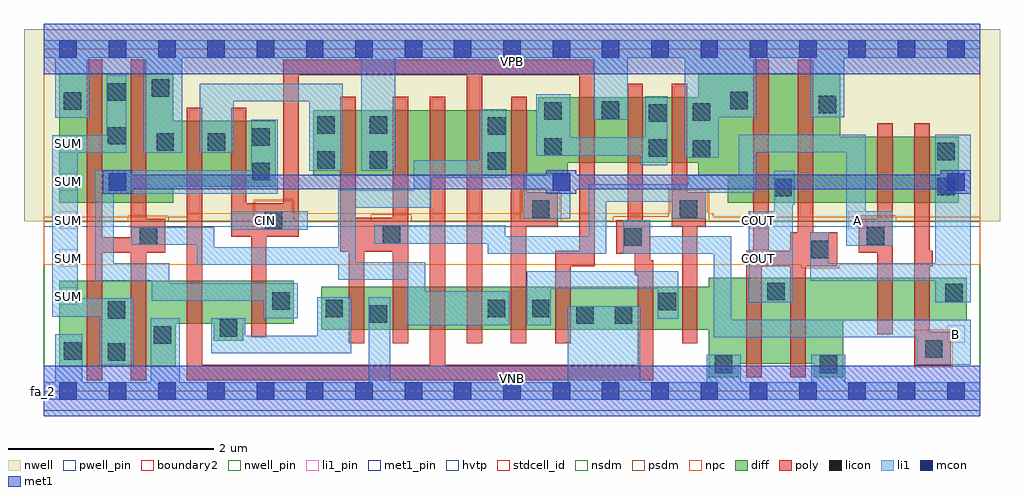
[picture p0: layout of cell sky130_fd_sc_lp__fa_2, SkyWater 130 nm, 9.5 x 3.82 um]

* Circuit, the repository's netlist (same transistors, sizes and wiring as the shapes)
* Copyright 2020 The SkyWater PDK Authors
*
* Licensed under the Apache License, Version 2.0 (the "License");
* you may not use this file except in compliance with the License.
* You may obtain a copy of the License at
*
*     https://www.apache.org/licenses/LICENSE-2.0
*
* Unless required by applicable law or agreed to in writing, software
* distributed under the License is distributed on an "AS IS" BASIS,
* WITHOUT WARRANTIES OR CONDITIONS OF ANY KIND, either express or implied.
* See the License for the specific language governing permissions and
* limitations under the License.
*
* SPDX-License-Identifier: Apache-2.0

.SUBCKT sky130_fd_sc_lp__fa_2 A B CIN VGND VNB VPB VPWR COUT SUM
*.PININFO A:I B:I CIN:I VGND:I VNB:I VPB:I VPWR:I COUT:O SUM:O
MMIN2 COUT majb VGND VNB sky130_fd_pr__nfet_01v8 m=2 w=0.84U l=0.15U mult=1 sa=0.265
+ sb=0.265 sd=0.28 area=0.063 perim=1.14
MMIN3 SUM sumb VGND VNB sky130_fd_pr__nfet_01v8 m=2 w=0.84U l=0.15U mult=1 sa=0.265
+ sb=0.265 sd=0.28 area=0.063 perim=1.14
MMNmaj10 majb B sndNAp1 VNB sky130_fd_pr__nfet_01v8 m=1 w=0.42U l=0.15U mult=1
+ sa=0.265 sb=0.265 sd=0.28 area=0.063 perim=1.14
MMNmaj11 sndNAp1 A VGND VNB sky130_fd_pr__nfet_01v8 m=1 w=0.42U l=0.15U mult=1
+ sa=0.265 sb=0.265 sd=0.28 area=0.063 perim=1.14
MMNmaj30 majb CIN nmajmid VNB sky130_fd_pr__nfet_01v8 m=1 w=0.42U l=0.15U mult=1
+ sa=0.265 sb=0.265 sd=0.28 area=0.063 perim=1.14
MMNmaj21 nmajmid A VGND VNB sky130_fd_pr__nfet_01v8 m=1 w=0.42U l=0.15U mult=1
+ sa=0.265 sb=0.265 sd=0.28 area=0.063 perim=1.14
MMNmaj20 VGND B nmajmid VNB sky130_fd_pr__nfet_01v8 m=1 w=0.42U l=0.15U mult=1
+ sa=0.265 sb=0.265 sd=0.28 area=0.063 perim=1.14
MMNs2s0 VGND A sndNAn4 VNB sky130_fd_pr__nfet_01v8 m=1 w=0.42U l=0.15U mult=1 sa=0.265
+ sb=0.265 sd=0.28 area=0.063 perim=1.14
MMNs2s1 sndNAn4 B sndNBn4 VNB sky130_fd_pr__nfet_01v8 m=1 w=0.42U l=0.15U mult=1
+ sa=0.265 sb=0.265 sd=0.28 area=0.063 perim=1.14
MMNs2s2 sndNBn4 CIN sumb VNB sky130_fd_pr__nfet_01v8 m=1 w=0.42U l=0.15U mult=1
+ sa=0.265 sb=0.265 sd=0.28 area=0.063 perim=1.14
MMNs3s0 nint1 A VGND VNB sky130_fd_pr__nfet_01v8 m=1 w=0.42U l=0.15U mult=1 sa=0.265
+ sb=0.265 sd=0.28 area=0.063 perim=1.14
MMNs3s1 nint1 B VGND VNB sky130_fd_pr__nfet_01v8 m=1 w=0.42U l=0.15U mult=1 sa=0.265
+ sb=0.265 sd=0.28 area=0.063 perim=1.14
MMNs3s2 nint1 CIN VGND VNB sky130_fd_pr__nfet_01v8 m=1 w=0.42U l=0.15U mult=1 sa=0.265
+ sb=0.265 sd=0.28 area=0.063 perim=1.14
MMNs1s nint1 majb sumb VNB sky130_fd_pr__nfet_01v8 m=1 w=0.42U l=0.15U mult=1 sa=0.265
+ sb=0.265 sd=0.28 area=0.063 perim=1.14
MMIP2 COUT majb VPWR VPB sky130_fd_pr__pfet_01v8_hvt m=2 w=1.26U l=0.15U mult=1
+ sa=0.265 sb=0.265 sd=0.28 area=0.063 perim=1.14
MMIP3 SUM sumb VPWR VPB sky130_fd_pr__pfet_01v8_hvt m=2 w=1.26U l=0.15U mult=1
+ sa=0.265 sb=0.265 sd=0.28 area=0.063 perim=1.14
MMPmaj10 VPWR A sndPAp1 VPB sky130_fd_pr__pfet_01v8_hvt m=1 w=0.64U l=0.15U mult=1
+ sa=0.265 sb=0.265 sd=0.28 area=0.063 perim=1.14
MMPmaj11 sndPAp1 B majb VPB sky130_fd_pr__pfet_01v8_hvt m=1 w=0.64U l=0.15U mult=1
+ sa=0.265 sb=0.265 sd=0.28 area=0.063 perim=1.14
MMPmaj20 VPWR B pmajmid VPB sky130_fd_pr__pfet_01v8_hvt m=1 w=0.64U l=0.15U mult=1
+ sa=0.265 sb=0.265 sd=0.28 area=0.063 perim=1.14
MMPmaj30 pmajmid CIN majb VPB sky130_fd_pr__pfet_01v8_hvt m=1 w=0.64U l=0.15U mult=1
+ sa=0.265 sb=0.265 sd=0.28 area=0.063 perim=1.14
MMPmaj21 pmajmid A VPWR VPB sky130_fd_pr__pfet_01v8_hvt m=1 w=0.64U l=0.15U mult=1
+ sa=0.265 sb=0.265 sd=0.28 area=0.063 perim=1.14
MMPs2s0 VPWR A sndPAp4 VPB sky130_fd_pr__pfet_01v8_hvt m=1 w=0.64U l=0.15U mult=1
+ sa=0.265 sb=0.265 sd=0.28 area=0.063 perim=1.14
MMPs2s1 sndPAp4 B sndPBp4 VPB sky130_fd_pr__pfet_01v8_hvt m=1 w=0.64U l=0.15U mult=1
+ sa=0.265 sb=0.265 sd=0.28 area=0.063 perim=1.14
MMPs2s2 sndPBp4 CIN sumb VPB sky130_fd_pr__pfet_01v8_hvt m=1 w=0.64U l=0.15U mult=1
+ sa=0.265 sb=0.265 sd=0.28 area=0.063 perim=1.14
MMPs3s0 pint1 A VPWR VPB sky130_fd_pr__pfet_01v8_hvt m=1 w=0.64U l=0.15U mult=1
+ sa=0.265 sb=0.265 sd=0.28 area=0.063 perim=1.14
MMPs3s1 pint1 B VPWR VPB sky130_fd_pr__pfet_01v8_hvt m=1 w=0.64U l=0.15U mult=1
+ sa=0.265 sb=0.265 sd=0.28 area=0.063 perim=1.14
MMPs3s2 pint1 CIN VPWR VPB sky130_fd_pr__pfet_01v8_hvt m=1 w=0.64U l=0.15U mult=1
+ sa=0.265 sb=0.265 sd=0.28 area=0.063 perim=1.14
MMPs1s pint1 majb sumb VPB sky130_fd_pr__pfet_01v8_hvt m=1 w=0.64U l=0.15U mult=1
+ sa=0.265 sb=0.265 sd=0.28 area=0.063 perim=1.14
.ENDS sky130_fd_sc_lp__fa_2

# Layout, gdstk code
import gdstk
lib = gdstk.Library(unit=1e-6, precision=1e-09)
def R(c, l, rs):  # rectangles x0, y0, x1, y1
    for r in rs: c.add(gdstk.rectangle(r[:2], r[2:], *l))
def A(c, l, x, y, w, h, nx, ny, dx, dy):  # array of equal rectangles
    R(c, l, [(x+i*dx, y+j*dy, x+i*dx+w, y+j*dy+h) for i in range(nx) for j in range(ny)])
def P(c, l, *ps):  # polygons
    for p in ps: c.add(gdstk.Polygon(p, *l))
nwell_pin = (64, 16)
nwell = (64, 20)
diff = (65, 20)
poly = (66, 20)
licon = (66, 44)
li1_pin = (67, 16)
li1 = (67, 20)
mcon = (67, 44)
met1_pin = (68, 16)
met1 = (68, 20)
hvtp = (78, 44)
stdcell_id = (81, 4)
nsdm = (93, 44)
psdm = (94, 20)
npc = (95, 20)
pwell_pin = (122, 16)
boundary2 = (236, 0)

sky130_fd_sc_lp__fa_2 = lib.new_cell('sky130_fd_sc_lp__fa_2')
R(sky130_fd_sc_lp__fa_2, nwell_pin, [(0,3.085,9.12,3.33)])
R(sky130_fd_sc_lp__fa_2, nwell, [(-0.19,1.655,9.31,3.52)])
P(sky130_fd_sc_lp__fa_2, diff, [(2.26,2.63),(1.265,2.63),(1.265,3.095),(0.155,3.095),(0.155,1.835),(1.265,1.835),(1.265,1.99),(2.26,1.99)],
  [(2.435,1.075),(0.155,1.075),(0.155,0.235),(1.285,0.235),(1.285,0.655),(1.655,0.655),(1.655,0.49),(1.945,0.49),(1.945,0.655),(2.435,0.655)],
  [(8.91,2.475),(7.755,2.475),(7.755,3.095),(6.375,3.095),(6.375,2.86),(4.815,2.86),(4.815,2.735),(2.625,2.735),(2.625,2.095),(5.105,2.095),(5.105,2.22),(6.375,2.22),(6.375,2.095),(6.66,2.095),(6.66,1.835),(8.91,1.835)],
  [(8.985,1.105),(6.475,1.105),(6.475,1.015),(2.705,1.015),(2.705,0.595),(6.475,0.595),(6.475,0.135),(6.765,0.135),(6.765,0.265),(7.495,0.265),(7.495,0.135),(7.785,0.135),(7.785,0.685),(8.985,0.685)])
P(sky130_fd_sc_lp__fa_2, poly, [(1.185,1.675),(1,1.675),(1,3.225),(0.85,3.225),(0.85,1.495),(0.57,1.495),(0.57,3.225),(0.42,3.225),(0.42,0.105),(0.57,0.105),(0.57,1.345),(0.85,1.345),(0.85,0.105),(1,0.105),(1,1.345),(1.185,1.345)],
  [(3.55,2.865),(3.4,2.865),(3.4,1.685),(3.04,1.685),(3.04,2.865),(2.89,2.865),(2.89,1.355),(2.97,1.355),(2.97,0.465),(3.12,0.465),(3.12,1.355),(3.4,1.355),(3.4,0.465),(3.55,0.465)],
  [(5.005,1.935),(4.705,1.935),(4.705,2.865),(4.555,2.865),(4.555,1.935),(4.55,1.935),(4.55,0.465),(4.7,0.465),(4.7,1.605),(5.005,1.605)],
  [(5.365,3.225),(2.335,3.225),(2.335,1.83),(1.975,1.83),(1.975,2.76),(1.825,2.76),(1.825,1.5),(2.02,1.5),(2.02,0.525),(2.17,0.525),(2.17,1.5),(2.485,1.5),(2.485,3.075),(4.12,3.075),(4.12,0.465),(4.27,0.465),(4.27,3.075),(5.215,3.075),(5.215,1.365),(4.98,1.365),(4.98,0.465),(5.13,0.465),(5.13,1.215),(5.365,1.215)],
  [(5.935,1.275),(5.905,1.275),(5.905,1.665),(5.835,1.665),(5.835,2.99),(5.685,2.99),(5.685,1.665),(5.575,1.665),(5.575,1.335),(5.755,1.335),(5.755,1.125),(5.785,1.125),(5.785,0.255),(3.91,0.255),(3.91,2.865),(3.76,2.865),(3.76,0.255),(1.545,0.255),(1.545,2.76),(1.395,2.76),(1.395,0.105),(5.935,0.105)],
  [(6.445,1.935),(6.265,1.935),(6.265,2.99),(6.115,2.99),(6.115,1.605),(6.215,1.605),(6.215,0.465),(6.365,0.465),(6.365,1.605),(6.445,1.605)],
  [(7.725,1.545),(7.49,1.545),(7.49,3.225),(7.34,3.225),(7.34,1.545),(7.27,1.545),(7.27,1.365),(7.06,1.365),(7.06,3.225),(6.91,3.225),(6.91,1.365),(6.84,1.365),(6.84,0.135),(6.99,0.135),(6.99,1.215),(7.27,1.215),(7.27,0.135),(7.42,0.135),(7.42,1.215),(7.725,1.215)],
  [(8.265,2.605),(8.115,2.605),(8.115,1.675),(7.935,1.675),(7.935,1.345),(8.115,1.345),(8.115,0.555),(8.265,0.555)],
  [(8.83,0.575),(8.625,0.575),(8.625,1.215),(8.655,1.215),(8.655,1.365),(8.625,1.365),(8.625,2.605),(8.475,2.605),(8.475,0.245),(8.83,0.245)])
R(sky130_fd_sc_lp__fa_2, licon, [(6.535,0.175,6.705,0.345), (7.555,0.175,7.725,0.345), (0.625,0.295,0.795,0.465), (0.195,0.305,0.365,0.475), (8.58,0.325,8.75,0.495), (1.075,0.46,1.245,0.63), (1.715,0.53,1.885,0.7), (5.185,0.655,5.355,0.825), (5.56,0.655,5.73,0.825), (3.175,0.665,3.345,0.835), (0.625,0.705,0.795,0.875), (2.745,0.72,2.915,0.89), (4.325,0.72,4.495,0.89), (4.755,0.72,4.925,0.89), (5.99,0.785,6.16,0.955), (2.225,0.79,2.395,0.96), (8.775,0.875,8.945,1.045), (7.045,0.885,7.215,1.055), (7.475,1.295,7.645,1.465), (5.655,1.415,5.825,1.585), (0.935,1.425,1.105,1.595), (8.015,1.425,8.185,1.595), (3.3,1.435,3.47,1.605), (2.155,1.58,2.325,1.75), (4.755,1.685,4.925,1.855), (6.195,1.685,6.365,1.855), (7.115,1.895,7.285,2.065), (8.7,1.905,8.87,2.075), (2.03,2.05,2.2,2.22), (4.325,2.155,4.495,2.325), (2.665,2.165,2.835,2.335), (3.175,2.165,3.345,2.335), (8.7,2.245,8.87,2.415), (6.32,2.27,6.49,2.44), (5.89,2.28,6.06,2.45), (4.875,2.29,5.045,2.46), (1.1,2.34,1.27,2.51), (1.6,2.34,1.77,2.51), (2.03,2.39,2.2,2.56), (0.625,2.4,0.795,2.57), (4.325,2.495,4.495,2.665), (2.665,2.505,2.835,2.675), (3.175,2.505,3.345,2.675), (5.89,2.62,6.06,2.79), (6.32,2.63,6.49,2.8), (4.875,2.64,5.045,2.81), (5.435,2.65,5.605,2.82), (7.545,2.705,7.715,2.875), (0.195,2.74,0.365,2.91), (6.685,2.745,6.855,2.915), (0.625,2.825,0.795,2.995), (1.055,2.865,1.225,3.035)])
A(sky130_fd_sc_lp__fa_2, li1_pin, 0.155, 0.84, 0.17, 0.17, 1, 5, 0, 0.37)
R(sky130_fd_sc_lp__fa_2, li1_pin, [(8.795,0.47,8.965,0.64), (6.875,1.21,7.045,1.38), (2.075,1.58,2.245,1.75), (6.875,1.58,7.045,1.75), (7.835,1.58,8.005,1.75)])
R(sky130_fd_sc_lp__fa_2, li1, [(1.83,1.57,2.57,1.75), (4.675,1.675,5.125,2.12)])
P(sky130_fd_sc_lp__fa_2, li1, [(9.12,3.415),(0,3.415),(0,3.245),(0.115,3.245),(0.115,2.66),(0.445,2.66),(0.445,3.245),(0.975,3.245),(0.975,2.32),(1.35,2.32),(1.35,3.245),(3.095,3.245),(3.095,2.145),(3.425,2.145),(3.425,3.245),(5.355,3.245),(5.355,2.64),(5.685,2.64),(5.685,3.245),(6.24,3.245),(6.24,2.27),(6.57,2.27),(6.57,2.665),(6.935,2.665),(6.935,3.245),(7.465,3.245),(7.465,2.665),(7.795,2.665),(7.795,3.245),(9.12,3.245)],
  [(6.455,0.085),(6.455,0.355),(6.785,0.355),(6.785,0.085),(7.475,0.085),(7.475,0.355),(7.805,0.355),(7.805,0.085),(9.12,0.085),(9.12,-0.085),(0,-0.085),(0,0.085),(0.115,0.085),(0.115,0.555),(0.375,0.555),(0.375,0.085),(1.045,0.085),(1.045,0.71),(1.325,0.71),(1.325,0.085),(3.165,0.085),(3.165,0.915),(3.375,0.915),(3.375,0.085),(5.105,0.085),(5.105,0.825),(5.81,0.825),(5.81,0.085)],
  [(6.765,2.1),(6.765,2.495),(8.005,2.495),(8.005,1.75),(8.265,1.75),(8.265,1.415),(7.815,1.415),(7.815,2.325),(6.935,2.325),(6.935,1.93),(6.445,1.93),(6.445,1.675),(6.115,1.675),(6.115,1.845),(5.475,1.845),(5.475,1.335),(4.325,1.335),(4.325,1.435),(3.22,1.435),(3.22,1.615),(4.495,1.615),(4.495,1.505),(5.305,1.505),(5.305,2.015),(6.275,2.015),(6.275,2.1)],
  [(5.905,1.505),(6.695,1.505),(6.695,0.695),(9.025,0.695),(9.025,0.255),(8.5,0.255),(8.5,0.525),(6.525,0.525),(6.525,1.335),(5.645,1.335),(5.645,1.665),(5.905,1.665)],
  [(0.505,2.15),(2.02,2.15),(2.02,2.64),(2.28,2.64),(2.28,1.92),(0.685,1.92),(0.685,1.245),(1.225,1.245),(1.225,1.05),(2.475,1.05),(2.475,0.71),(2.145,0.71),(2.145,0.88),(1.055,0.88),(1.055,1.075),(0.505,1.075)],
  [(6.865,0.865),(6.865,1.75),(7.115,1.75),(7.115,2.145),(7.305,2.145),(7.305,1.815),(7.295,1.815),(7.295,0.865)],
  [(8.68,1.245),(8.68,2.495),(9.025,2.495),(9.025,0.865),(8.68,0.865),(8.68,1.075),(7.465,1.075),(7.465,1.545),(7.645,1.545),(7.645,1.245)],
  [(5.125,2.47),(5.855,2.47),(5.855,2.87),(6.07,2.87),(6.07,2.2),(5.81,2.2),(5.81,2.29),(4.795,2.29),(4.795,2.89),(5.125,2.89)],
  [(3.775,2.075),(3.775,1.785),(3.04,1.785),(3.04,1.255),(3.715,1.255),(3.715,0.97),(4.535,0.97),(4.535,0.64),(3.545,0.64),(3.545,1.085),(2.87,1.085),(2.87,1.23),(1.49,1.23),(1.49,1.425),(0.855,1.425),(0.855,1.595),(1.66,1.595),(1.66,1.4),(2.87,1.4),(2.87,1.955),(3.605,1.955),(3.605,2.245),(4.245,2.245),(4.245,2.745),(4.505,2.745),(4.505,2.075)],
  [(2.585,2.82),(1.85,2.82),(1.85,2.32),(1.52,2.32),(1.52,2.99),(2.915,2.99),(2.915,2.145),(2.585,2.145)],
  [(0.335,2.32),(0.335,0.905),(0.875,0.905),(0.875,0.255),(0.545,0.255),(0.545,0.725),(0.085,0.725),(0.085,2.49),(0.615,2.49),(0.615,3.075),(0.805,3.075),(0.805,2.32)],
  [(5.98,0.995),(4.935,0.995),(4.935,0.64),(4.705,0.64),(4.705,1.165),(6.18,1.165),(6.18,0.705),(5.98,0.705)],
  [(1.965,0.54),(2.665,0.54),(2.665,0.915),(2.995,0.915),(2.995,0.37),(1.635,0.37),(1.635,0.71),(1.965,0.71)])
A(sky130_fd_sc_lp__fa_2, mcon, 0.155, -0.085, 0.17, 0.17, 19, 2, 0.48, 3.33)
R(sky130_fd_sc_lp__fa_2, mcon, [(0.635,1.95,0.805,2.12), (4.955,1.95,5.125,2.12), (8.795,1.95,8.965,2.12)])
R(sky130_fd_sc_lp__fa_2, met1_pin, [(0,0,9.12,0.245), (0,3.085,9.12,3.33)])
R(sky130_fd_sc_lp__fa_2, met1, [(0,-0.245,9.12,0.245), (0,3.085,9.12,3.575)])
P(sky130_fd_sc_lp__fa_2, met1, [(0.865,2.105),(4.895,2.105),(4.895,2.15),(5.185,2.15),(5.185,2.105),(8.735,2.105),(8.735,2.15),(9.025,2.15),(9.025,1.92),(8.735,1.92),(8.735,1.965),(5.185,1.965),(5.185,1.92),(4.895,1.92),(4.895,1.965),(0.865,1.965),(0.865,1.92),(0.575,1.92),(0.575,2.15),(0.865,2.15)])
R(sky130_fd_sc_lp__fa_2, hvtp, [(0,1.6,9.12,3.33)])
R(sky130_fd_sc_lp__fa_2, stdcell_id, [(0,0,9.12,3.33)])
R(sky130_fd_sc_lp__fa_2, nsdm, [(0,-0.19,9.12,1.655)])
P(sky130_fd_sc_lp__fa_2, psdm, [(9.12,3.52),(0,3.52),(0,1.655),(0.825,1.655),(0.825,1.705),(1.215,1.705),(1.215,1.655),(2.045,1.655),(2.045,1.86),(2.435,1.86),(2.435,1.655),(3.19,1.655),(3.19,1.715),(3.58,1.715),(3.58,1.655),(4.645,1.655),(4.645,1.965),(5.035,1.965),(5.035,1.655),(5.545,1.655),(5.545,1.695),(6.085,1.695),(6.085,1.965),(6.475,1.965),(6.475,1.655),(7.905,1.655),(7.905,1.705),(8.295,1.705),(8.295,1.655),(9.12,1.655)])
R(sky130_fd_sc_lp__fa_2, npc, [(8.48,0.225,8.85,0.595)])
P(sky130_fd_sc_lp__fa_2, npc, [(9.12,1.695),(6.52,1.695),(6.52,1.73),(6.465,1.73),(6.465,1.955),(6.095,1.955),(6.095,1.73),(5.025,1.73),(5.025,1.955),(4.655,1.955),(4.655,1.73),(2.425,1.73),(2.425,1.85),(2.055,1.85),(2.055,1.73),(1.405,1.73),(1.405,1.695),(0,1.695),(0,1.23),(7.375,1.23),(7.375,1.195),(7.745,1.195),(7.745,1.23),(9.12,1.23)])
R(sky130_fd_sc_lp__fa_2, pwell_pin, [(0,0,9.12,0.245)])
R(sky130_fd_sc_lp__fa_2, boundary2, [(0,0,9.12,3.33)])
sky130_fd_sc_lp__fa_2.add(gdstk.Label('VNB', (4.56,0.123), layer=64, texttype=59))
sky130_fd_sc_lp__fa_2.add(gdstk.Label('VPB', (4.56,3.208), layer=64, texttype=5))
sky130_fd_sc_lp__fa_2.add(gdstk.Label('fa_2', (0,0), layer=83, texttype=44))
sky130_fd_sc_lp__fa_2.add(gdstk.Label('VPWR', (4.56,3.208), layer=68, texttype=5))
sky130_fd_sc_lp__fa_2.add(gdstk.Label('VGND', (4.56,0.123), layer=68, texttype=5))
sky130_fd_sc_lp__fa_2.add(gdstk.Label('B', (8.88,0.555), layer=67, texttype=5))
sky130_fd_sc_lp__fa_2.add(gdstk.Label('COUT', (6.96,1.295), layer=67, texttype=5))
sky130_fd_sc_lp__fa_2.add(gdstk.Label('COUT', (6.96,1.665), layer=67, texttype=5))
sky130_fd_sc_lp__fa_2.add(gdstk.Label('CIN', (2.16,1.665), layer=67, texttype=5))
sky130_fd_sc_lp__fa_2.add(gdstk.Label('SUM', (0.24,0.925), layer=67, texttype=5))
sky130_fd_sc_lp__fa_2.add(gdstk.Label('SUM', (0.24,1.295), layer=67, texttype=5))
sky130_fd_sc_lp__fa_2.add(gdstk.Label('SUM', (0.24,1.665), layer=67, texttype=5))
sky130_fd_sc_lp__fa_2.add(gdstk.Label('SUM', (0.24,2.035), layer=67, texttype=5))
sky130_fd_sc_lp__fa_2.add(gdstk.Label('SUM', (0.24,2.405), layer=67, texttype=5))
sky130_fd_sc_lp__fa_2.add(gdstk.Label('A', (7.92,1.665), layer=67, texttype=5))

lib.write_gds('sky130_fd_sc_lp__fa_2.gds')
